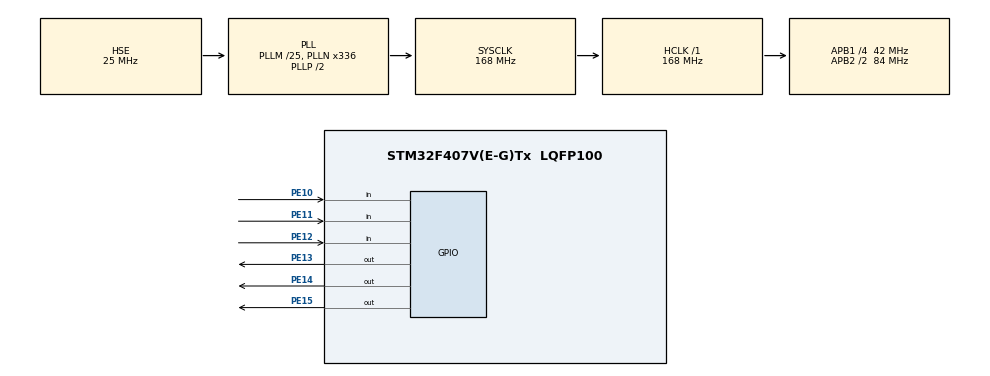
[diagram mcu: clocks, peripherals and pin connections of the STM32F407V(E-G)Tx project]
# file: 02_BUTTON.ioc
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Mcu.Family=STM32F4
Mcu.Name=STM32F407V(E-G)Tx
Mcu.Package=LQFP100
NVIC.PriorityGroup=NVIC_PRIORITYGROUP_4
PA13.Mode=Serial_Wire
PA13.Signal=SYS_JTMS-SWDIO
PA14.Mode=Serial_Wire
PA14.Signal=SYS_JTCK-SWCLK
PE10.Signal=GPIO_Input
PE11.Signal=GPIO_Input
PE12.Signal=GPIO_Input
PE13.Signal=GPIO_Output
PE14.Signal=GPIO_Output
PE15.Signal=GPIO_Output
PH0-OSC_IN.Mode=HSE-External-Oscillator
PH0-OSC_IN.Signal=RCC_OSC_IN
PH1-OSC_OUT.Mode=HSE-External-Oscillator
PH1-OSC_OUT.Signal=RCC_OSC_OUT
ProjectManager.HeapSize=0x200
ProjectManager.StackSize=0x400
ProjectManager.TargetToolchain=STM32CubeIDE
RCC.48MHZClocksFreq_Value=84000000
RCC.AHBFreq_Value=168000000
RCC.APB1CLKDivider=RCC_HCLK_DIV4
RCC.APB1Freq_Value=42000000
RCC.APB1TimFreq_Value=84000000
RCC.APB2CLKDivider=RCC_HCLK_DIV2
RCC.APB2Freq_Value=84000000
RCC.APB2TimFreq_Value=168000000
RCC.CortexFreq_Value=168000000
RCC.HCLKFreq_Value=168000000
RCC.HSE_VALUE=25000000
RCC.HSI_VALUE=16000000
RCC.LSE_VALUE=32768
RCC.PLLM=25
RCC.PLLN=336
RCC.PLLSourceVirtual=RCC_PLLSOURCE_HSE
RCC.SYSCLKFreq_VALUE=168000000
RCC.SYSCLKSource=RCC_SYSCLKSOURCE_PLLCLK
RCC.VCOOutputFreq_Value=336000000
board=custom

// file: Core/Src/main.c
/* USER CODE BEGIN Header */
/**
  ******************************************************************************
  * @file           : main.c
  * @brief          : Main program body
  ******************************************************************************
  * @attention
  *
  * Copyright (c) 2025 STMicroelectronics.
  * All rights reserved.
  *
  * This software is licensed under terms that can be found in the LICENSE file
  * in the root directory of this software component.
  * If no LICENSE file comes with this software, it is provided AS-IS.
  *
  ******************************************************************************
  */
/* USER CODE END Header */
#include "main.h"
#include "gpio.h"

void SystemClock_Config(void);

int main(void)
{

  /* MCU Configuration--------------------------------------------------------*/

  /* Reset of all peripherals, Initializes the Flash interface and the Systick. */
  HAL_Init();

  /* Configure the system clock */
  SystemClock_Config();

  /* Initialize all configured peripherals */
  MX_GPIO_Init();

  /* Infinite loop */
  while (1)
  {

    /* USER CODE BEGIN 3 */
    /* BUTTON1 - LED1 */
    if(HAL_GPIO_ReadPin(GPIOE, GPIO_PIN_10) == GPIO_PIN_RESET) // Btn1 Pressed
      HAL_GPIO_WritePin(GPIOE, GPIO_PIN_13, GPIO_PIN_RESET);   // LED1 ON
    else
      HAL_GPIO_WritePin(GPIOE, GPIO_PIN_13, GPIO_PIN_SET);     // LED1 OFF
    /* BUTTON2 - LED2 */
    if(HAL_GPIO_ReadPin(GPIOE, GPIO_PIN_11) == GPIO_PIN_RESET) // Btn2 Pressed
      HAL_GPIO_WritePin(GPIOE, GPIO_PIN_14, GPIO_PIN_RESET);   // LED2 ON
    else
      HAL_GPIO_WritePin(GPIOE, GPIO_PIN_14, GPIO_PIN_SET);     // LED2 OFF
    /* BUTTON3 - LED1 LED2 LED3 */
    if(HAL_GPIO_ReadPin(GPIOE, GPIO_PIN_12) == GPIO_PIN_RESET) // Btn3 Pressed
    {
      HAL_GPIO_WritePin(GPIOE, GPIO_PIN_13, GPIO_PIN_RESET);   // LED1 ON
      HAL_GPIO_WritePin(GPIOE, GPIO_PIN_14, GPIO_PIN_RESET);   // LED2 ON
      HAL_GPIO_WritePin(GPIOE, GPIO_PIN_15, GPIO_PIN_RESET);   // LED3 ON
    }
    else
    {
      HAL_GPIO_WritePin(GPIOE, GPIO_PIN_13, GPIO_PIN_SET);     // LED1 OFF
      HAL_GPIO_WritePin(GPIOE, GPIO_PIN_14, GPIO_PIN_SET);     // LED2 OFF
      HAL_GPIO_WritePin(GPIOE, GPIO_PIN_15, GPIO_PIN_SET);     // LED3 OFF
    }
  }
  /* USER CODE END 3 */
}

void SystemClock_Config(void)
{
  RCC_OscInitTypeDef RCC_OscInitStruct = {0};
  RCC_ClkInitTypeDef RCC_ClkInitStruct = {0};

  /** Configure the main internal regulator output voltage
  */
  __HAL_RCC_PWR_CLK_ENABLE();
  __HAL_PWR_VOLTAGESCALING_CONFIG(PWR_REGULATOR_VOLTAGE_SCALE1);

  /** Initializes the RCC Oscillators according to the specified parameters
  * in the RCC_OscInitTypeDef structure.
  */
  RCC_OscInitStruct.OscillatorType = RCC_OSCILLATORTYPE_HSE;
  RCC_OscInitStruct.HSEState = RCC_HSE_ON;
  RCC_OscInitStruct.PLL.PLLState = RCC_PLL_ON;
  RCC_OscInitStruct.PLL.PLLSource = RCC_PLLSOURCE_HSE;
  RCC_OscInitStruct.PLL.PLLM = 25;
  RCC_OscInitStruct.PLL.PLLN = 336;
  RCC_OscInitStruct.PLL.PLLP = RCC_PLLP_DIV2;
  RCC_OscInitStruct.PLL.PLLQ = 4;
  if (HAL_RCC_OscConfig(&RCC_OscInitStruct) != HAL_OK)
  {
    Error_Handler();
  }

  /** Initializes the CPU, AHB and APB buses clocks
  */
  RCC_ClkInitStruct.ClockType = RCC_CLOCKTYPE_HCLK|RCC_CLOCKTYPE_SYSCLK
                              |RCC_CLOCKTYPE_PCLK1|RCC_CLOCKTYPE_PCLK2;
  RCC_ClkInitStruct.SYSCLKSource = RCC_SYSCLKSOURCE_PLLCLK;
  RCC_ClkInitStruct.AHBCLKDivider = RCC_SYSCLK_DIV1;
  RCC_ClkInitStruct.APB1CLKDivider = RCC_HCLK_DIV4;
  RCC_ClkInitStruct.APB2CLKDivider = RCC_HCLK_DIV2;

  if (HAL_RCC_ClockConfig(&RCC_ClkInitStruct, FLASH_LATENCY_5) != HAL_OK)
  {
    Error_Handler();
  }
}

void Error_Handler(void)
{
  __disable_irq();
  while (1)
  {
  }
}
